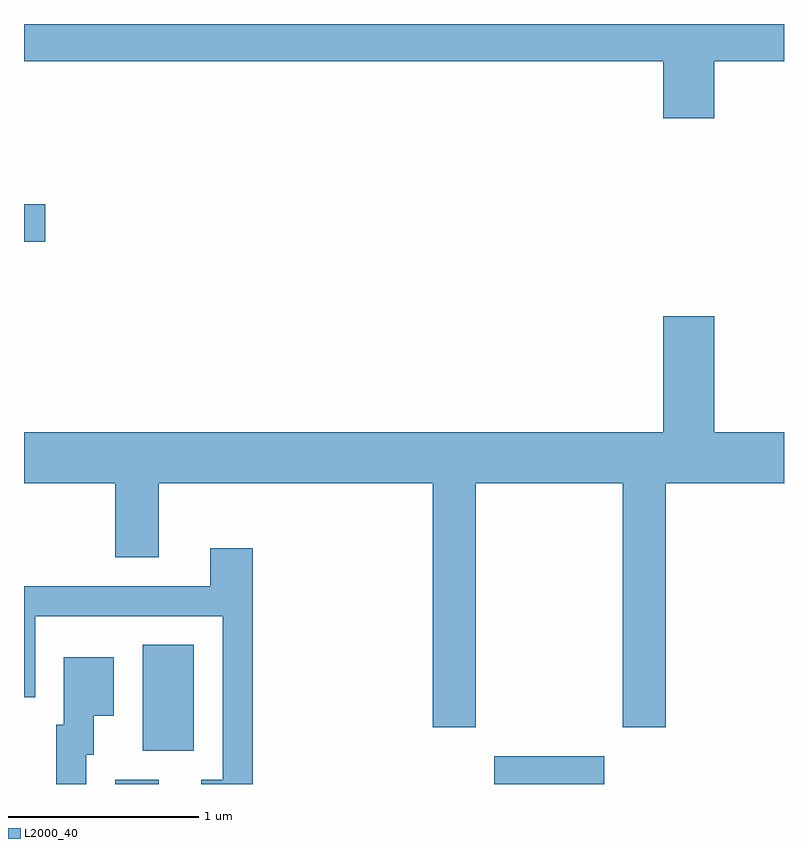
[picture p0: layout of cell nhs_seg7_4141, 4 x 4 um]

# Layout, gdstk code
import gdstk
lib = gdstk.Library(unit=1e-6, precision=1e-09)
def R(c, l, rs):  # rectangles x0, y0, x1, y1
    for r in rs: c.add(gdstk.rectangle(r[:2], r[2:], *l))
def P(c, l, *ps):  # polygons
    for p in ps: c.add(gdstk.Polygon(p, *l))
L2000_40 = (2000, 40)

nhs_seg7_4141 = lib.new_cell('nhs_seg7_4141')
R(nhs_seg7_4141, L2000_40, [(312.091,1748.252,312.319,1748.274), (314.086,1748.252,314.664,1748.399), (312.236,1748.426,312.504,1748.984), (311.611,1751.106,311.724,1751.304)])
P(nhs_seg7_4141, L2000_40, [(315.244,1752.056),(315.611,1752.056),(315.611,1752.252),(311.611,1752.252),(311.611,1752.056),(314.976,1752.056),(314.976,1751.756),(315.244,1751.756)],
  [(313.989,1749.836),(314.761,1749.836),(314.761,1748.551),(314.989,1748.551),(314.989,1749.836),(315.611,1749.836),(315.611,1750.104),(315.244,1750.104),(315.244,1750.714),(314.976,1750.714),(314.976,1750.104),(311.611,1750.104),(311.611,1749.836),(312.091,1749.836),(312.091,1749.446),(312.319,1749.446),(312.319,1749.836),(313.761,1749.836),(313.761,1748.551),(313.989,1748.551)],
  [(312.814,1749.494),(312.591,1749.494),(312.591,1749.294),(311.611,1749.294),(311.611,1748.708),(311.669,1748.708),(311.669,1749.136),(312.656,1749.136),(312.656,1748.274),(312.543,1748.274),(312.543,1748.252),(312.814,1748.252)],
  [(311.939,1748.406),(311.979,1748.406),(311.979,1748.611),(312.084,1748.611),(312.084,1748.919),(311.821,1748.919),(311.821,1748.564),(311.781,1748.564),(311.781,1748.252),(311.939,1748.252)])

lib.write_gds('nhs_seg7_4141.gds')
